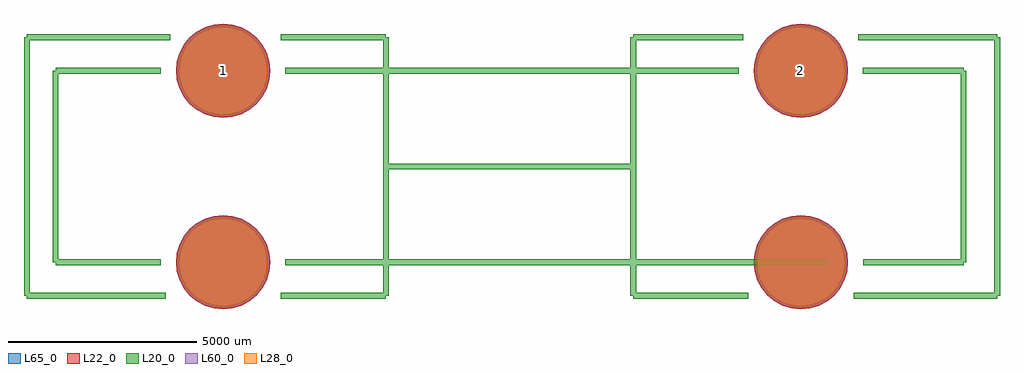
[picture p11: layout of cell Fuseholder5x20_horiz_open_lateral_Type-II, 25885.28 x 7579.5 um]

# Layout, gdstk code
import gdstk
lib = gdstk.Library(unit=1e-6, precision=1e-09)
def P(c, l, *ps):  # polygons
    for p in ps: c.add(gdstk.Polygon(p, *l))
L20_0 = (20, 0)
L22_0 = (22, 0)
L28_0 = (28, 0)
L60_0 = (60, 0)
L65_0 = (65, 0)

fuseholder5x20_horiz_ope = lib.new_cell('Fuseholder5x20_horiz_open_lateral_Type-II')
P(fuseholder5x20_horiz_ope, L22_0, [(-6410.89,-2540),(-6434.904,-2296.186),(-6506.022,-2061.741),(-6621.511,-1845.676),(-6776.933,-1656.293),(-6966.316,-1500.871),(-7182.381,-1385.382),(-7416.826,-1314.264),(-7660.64,-1290.25),(-7904.454,-1314.264),(-8138.899,-1385.382),(-8354.964,-1500.871),(-8544.347,-1656.293),(-8699.769,-1845.676),(-8815.258,-2061.741),(-8886.376,-2296.186),(-8910.39,-2540),(-8886.376,-2783.814),(-8815.258,-3018.259),(-8699.769,-3234.324),(-8544.347,-3423.707),(-8354.964,-3579.129),(-8138.899,-3694.618),(-7904.454,-3765.736),(-7660.64,-3789.75),(-7416.826,-3765.736),(-7182.381,-3694.618),(-6966.316,-3579.129),(-6776.933,-3423.707),(-6621.511,-3234.324),(-6506.022,-3018.259),(-6434.904,-2783.814)],
  [(-6410.89,2540),(-6434.904,2783.814),(-6506.022,3018.259),(-6621.511,3234.324),(-6776.933,3423.707),(-6966.316,3579.129),(-7182.381,3694.618),(-7416.826,3765.736),(-7660.64,3789.75),(-7904.454,3765.736),(-8138.899,3694.618),(-8354.964,3579.129),(-8544.347,3423.707),(-8699.769,3234.324),(-8815.258,3018.259),(-8886.376,2783.814),(-8910.39,2540),(-8886.376,2296.186),(-8815.258,2061.741),(-8699.769,1845.676),(-8544.347,1656.293),(-8354.964,1500.871),(-8138.899,1385.382),(-7904.454,1314.264),(-7660.64,1290.25),(-7416.826,1314.264),(-7182.381,1385.382),(-6966.316,1500.871),(-6776.933,1656.293),(-6621.511,1845.676),(-6506.022,2061.741),(-6434.904,2296.186)],
  [(8910.39,-2540),(8886.376,-2296.186),(8815.258,-2061.741),(8699.769,-1845.676),(8544.347,-1656.293),(8354.964,-1500.871),(8138.899,-1385.382),(7904.454,-1314.264),(7660.64,-1290.25),(7416.826,-1314.264),(7182.381,-1385.382),(6966.316,-1500.871),(6776.933,-1656.293),(6621.511,-1845.676),(6506.022,-2061.741),(6434.904,-2296.186),(6410.89,-2540),(6434.904,-2783.814),(6506.022,-3018.259),(6621.511,-3234.324),(6776.933,-3423.707),(6966.316,-3579.129),(7182.381,-3694.618),(7416.826,-3765.736),(7660.64,-3789.75),(7904.454,-3765.736),(8138.899,-3694.618),(8354.964,-3579.129),(8544.347,-3423.707),(8699.769,-3234.324),(8815.258,-3018.259),(8886.376,-2783.814)],
  [(8910.39,2540),(8886.376,2783.814),(8815.258,3018.259),(8699.769,3234.324),(8544.347,3423.707),(8354.964,3579.129),(8138.899,3694.618),(7904.454,3765.736),(7660.64,3789.75),(7416.826,3765.736),(7182.381,3694.618),(6966.316,3579.129),(6776.933,3423.707),(6621.511,3234.324),(6506.022,3018.259),(6434.904,2783.814),(6410.89,2540),(6434.904,2296.186),(6506.022,2061.741),(6621.511,1845.676),(6776.933,1656.293),(6966.316,1500.871),(7182.381,1385.382),(7416.826,1314.264),(7660.64,1290.25),(7904.454,1314.264),(8138.899,1385.382),(8354.964,1500.871),(8544.347,1656.293),(8699.769,1845.676),(8815.258,2061.741),(8886.376,2296.186)])
P(fuseholder5x20_horiz_ope, L28_0, [(-6485.89,-2540),(-6508.462,-2310.818),(-6575.313,-2090.443),(-6683.871,-1887.344),(-6829.966,-1709.326),(-7007.984,-1563.231),(-7211.083,-1454.673),(-7431.458,-1387.822),(-7660.64,-1365.25),(-7889.822,-1387.822),(-8110.197,-1454.673),(-8313.296,-1563.231),(-8491.314,-1709.326),(-8637.409,-1887.344),(-8745.967,-2090.443),(-8812.818,-2310.818),(-8835.39,-2540),(-8812.818,-2769.182),(-8745.967,-2989.557),(-8637.409,-3192.656),(-8491.314,-3370.674),(-8313.296,-3516.769),(-8110.197,-3625.327),(-7889.822,-3692.178),(-7660.64,-3714.75),(-7431.458,-3692.178),(-7211.083,-3625.327),(-7007.984,-3516.769),(-6829.966,-3370.674),(-6683.871,-3192.656),(-6575.313,-2989.557),(-6508.462,-2769.182)],
  [(-6485.89,2540),(-6508.462,2769.182),(-6575.313,2989.557),(-6683.871,3192.656),(-6829.966,3370.674),(-7007.984,3516.769),(-7211.083,3625.327),(-7431.458,3692.178),(-7660.64,3714.75),(-7889.822,3692.178),(-8110.197,3625.327),(-8313.296,3516.769),(-8491.314,3370.674),(-8637.409,3192.656),(-8745.967,2989.557),(-8812.818,2769.182),(-8835.39,2540),(-8812.818,2310.818),(-8745.967,2090.443),(-8637.409,1887.344),(-8491.314,1709.326),(-8313.296,1563.231),(-8110.197,1454.673),(-7889.822,1387.822),(-7660.64,1365.25),(-7431.458,1387.822),(-7211.083,1454.673),(-7007.984,1563.231),(-6829.966,1709.326),(-6683.871,1887.344),(-6575.313,2090.443),(-6508.462,2310.818)],
  [(8835.39,-2540),(8812.818,-2310.818),(8745.967,-2090.443),(8637.409,-1887.344),(8491.314,-1709.326),(8313.296,-1563.231),(8110.197,-1454.673),(7889.822,-1387.822),(7660.64,-1365.25),(7431.458,-1387.822),(7211.083,-1454.673),(7007.984,-1563.231),(6829.966,-1709.326),(6683.871,-1887.344),(6575.313,-2090.443),(6508.462,-2310.818),(6485.89,-2540),(6508.462,-2769.182),(6575.313,-2989.557),(6683.871,-3192.656),(6829.966,-3370.674),(7007.984,-3516.769),(7211.083,-3625.327),(7431.458,-3692.178),(7660.64,-3714.75),(7889.822,-3692.178),(8110.197,-3625.327),(8313.296,-3516.769),(8491.314,-3370.674),(8637.409,-3192.656),(8745.967,-2989.557),(8812.818,-2769.182)],
  [(8835.39,2540),(8812.818,2769.182),(8745.967,2989.557),(8637.409,3192.656),(8491.314,3370.674),(8313.296,3516.769),(8110.197,3625.327),(7889.822,3692.178),(7660.64,3714.75),(7431.458,3692.178),(7211.083,3625.327),(7007.984,3516.769),(6829.966,3370.674),(6683.871,3192.656),(6575.313,2989.557),(6508.462,2769.182),(6485.89,2540),(6508.462,2310.818),(6575.313,2090.443),(6683.871,1887.344),(6829.966,1709.326),(7007.984,1563.231),(7211.083,1454.673),(7431.458,1387.822),(7660.64,1365.25),(7889.822,1387.822),(8110.197,1454.673),(8313.296,1563.231),(8491.314,1709.326),(8637.409,1887.344),(8745.967,2090.443),(8812.818,2310.818)])
P(fuseholder5x20_horiz_ope, L60_0, [(-6485.89,-2540),(-6508.462,-2310.818),(-6575.313,-2090.443),(-6683.871,-1887.344),(-6829.966,-1709.326),(-7007.984,-1563.231),(-7211.083,-1454.673),(-7431.458,-1387.822),(-7660.64,-1365.25),(-7889.822,-1387.822),(-8110.197,-1454.673),(-8313.296,-1563.231),(-8491.314,-1709.326),(-8637.409,-1887.344),(-8745.967,-2090.443),(-8812.818,-2310.818),(-8835.39,-2540),(-8812.818,-2769.182),(-8745.967,-2989.557),(-8637.409,-3192.656),(-8491.314,-3370.674),(-8313.296,-3516.769),(-8110.197,-3625.327),(-7889.822,-3692.178),(-7660.64,-3714.75),(-7431.458,-3692.178),(-7211.083,-3625.327),(-7007.984,-3516.769),(-6829.966,-3370.674),(-6683.871,-3192.656),(-6575.313,-2989.557),(-6508.462,-2769.182)],
  [(-6485.89,2540),(-6508.462,2769.182),(-6575.313,2989.557),(-6683.871,3192.656),(-6829.966,3370.674),(-7007.984,3516.769),(-7211.083,3625.327),(-7431.458,3692.178),(-7660.64,3714.75),(-7889.822,3692.178),(-8110.197,3625.327),(-8313.296,3516.769),(-8491.314,3370.674),(-8637.409,3192.656),(-8745.967,2989.557),(-8812.818,2769.182),(-8835.39,2540),(-8812.818,2310.818),(-8745.967,2090.443),(-8637.409,1887.344),(-8491.314,1709.326),(-8313.296,1563.231),(-8110.197,1454.673),(-7889.822,1387.822),(-7660.64,1365.25),(-7431.458,1387.822),(-7211.083,1454.673),(-7007.984,1563.231),(-6829.966,1709.326),(-6683.871,1887.344),(-6575.313,2090.443),(-6508.462,2310.818)],
  [(8835.39,-2540),(8812.818,-2310.818),(8745.967,-2090.443),(8637.409,-1887.344),(8491.314,-1709.326),(8313.296,-1563.231),(8110.197,-1454.673),(7889.822,-1387.822),(7660.64,-1365.25),(7431.458,-1387.822),(7211.083,-1454.673),(7007.984,-1563.231),(6829.966,-1709.326),(6683.871,-1887.344),(6575.313,-2090.443),(6508.462,-2310.818),(6485.89,-2540),(6508.462,-2769.182),(6575.313,-2989.557),(6683.871,-3192.656),(6829.966,-3370.674),(7007.984,-3516.769),(7211.083,-3625.327),(7431.458,-3692.178),(7660.64,-3714.75),(7889.822,-3692.178),(8110.197,-3625.327),(8313.296,-3516.769),(8491.314,-3370.674),(8637.409,-3192.656),(8745.967,-2989.557),(8812.818,-2769.182)],
  [(8835.39,2540),(8812.818,2769.182),(8745.967,2989.557),(8637.409,3192.656),(8491.314,3370.674),(8313.296,3516.769),(8110.197,3625.327),(7889.822,3692.178),(7660.64,3714.75),(7431.458,3692.178),(7211.083,3625.327),(7007.984,3516.769),(6829.966,3370.674),(6683.871,3192.656),(6575.313,2989.557),(6508.462,2769.182),(6485.89,2540),(6508.462,2310.818),(6575.313,2090.443),(6683.871,1887.344),(6829.966,1709.326),(7007.984,1563.231),(7211.083,1454.673),(7431.458,1387.822),(7660.64,1365.25),(7889.822,1387.822),(8110.197,1454.673),(8313.296,1563.231),(8491.314,1709.326),(8637.409,1887.344),(8745.967,2090.443),(8812.818,2310.818)])
P(fuseholder5x20_horiz_ope, L65_0, [(-6410.89,-2540),(-6434.904,-2296.186),(-6506.022,-2061.741),(-6621.511,-1845.676),(-6776.933,-1656.293),(-6966.316,-1500.871),(-7182.381,-1385.382),(-7416.826,-1314.264),(-7660.64,-1290.25),(-7904.454,-1314.264),(-8138.899,-1385.382),(-8354.964,-1500.871),(-8544.347,-1656.293),(-8699.769,-1845.676),(-8815.258,-2061.741),(-8886.376,-2296.186),(-8910.39,-2540),(-8886.376,-2783.814),(-8815.258,-3018.259),(-8699.769,-3234.324),(-8544.347,-3423.707),(-8354.964,-3579.129),(-8138.899,-3694.618),(-7904.454,-3765.736),(-7660.64,-3789.75),(-7416.826,-3765.736),(-7182.381,-3694.618),(-6966.316,-3579.129),(-6776.933,-3423.707),(-6621.511,-3234.324),(-6506.022,-3018.259),(-6434.904,-2783.814)],
  [(-6410.89,2540),(-6434.904,2783.814),(-6506.022,3018.259),(-6621.511,3234.324),(-6776.933,3423.707),(-6966.316,3579.129),(-7182.381,3694.618),(-7416.826,3765.736),(-7660.64,3789.75),(-7904.454,3765.736),(-8138.899,3694.618),(-8354.964,3579.129),(-8544.347,3423.707),(-8699.769,3234.324),(-8815.258,3018.259),(-8886.376,2783.814),(-8910.39,2540),(-8886.376,2296.186),(-8815.258,2061.741),(-8699.769,1845.676),(-8544.347,1656.293),(-8354.964,1500.871),(-8138.899,1385.382),(-7904.454,1314.264),(-7660.64,1290.25),(-7416.826,1314.264),(-7182.381,1385.382),(-6966.316,1500.871),(-6776.933,1656.293),(-6621.511,1845.676),(-6506.022,2061.741),(-6434.904,2296.186)],
  [(8910.39,-2540),(8886.376,-2296.186),(8815.258,-2061.741),(8699.769,-1845.676),(8544.347,-1656.293),(8354.964,-1500.871),(8138.899,-1385.382),(7904.454,-1314.264),(7660.64,-1290.25),(7416.826,-1314.264),(7182.381,-1385.382),(6966.316,-1500.871),(6776.933,-1656.293),(6621.511,-1845.676),(6506.022,-2061.741),(6434.904,-2296.186),(6410.89,-2540),(6434.904,-2783.814),(6506.022,-3018.259),(6621.511,-3234.324),(6776.933,-3423.707),(6966.316,-3579.129),(7182.381,-3694.618),(7416.826,-3765.736),(7660.64,-3789.75),(7904.454,-3765.736),(8138.899,-3694.618),(8354.964,-3579.129),(8544.347,-3423.707),(8699.769,-3234.324),(8815.258,-3018.259),(8886.376,-2783.814)],
  [(8910.39,2540),(8886.376,2783.814),(8815.258,3018.259),(8699.769,3234.324),(8544.347,3423.707),(8354.964,3579.129),(8138.899,3694.618),(7904.454,3765.736),(7660.64,3789.75),(7416.826,3765.736),(7182.381,3694.618),(6966.316,3579.129),(6776.933,3423.707),(6621.511,3234.324),(6506.022,3018.259),(6434.904,2783.814),(6410.89,2540),(6434.904,2296.186),(6506.022,2061.741),(6621.511,1845.676),(6776.933,1656.293),(6966.316,1500.871),(7182.381,1385.382),(7416.826,1314.264),(7660.64,1290.25),(7904.454,1314.264),(8138.899,1385.382),(8354.964,1500.871),(8544.347,1656.293),(8699.769,1845.676),(8815.258,2061.741),(8886.376,2296.186)])
fuseholder5x20_horiz_ope.add(gdstk.FlexPath([(3215.64,-2540),(3215.64,0)], 149.998, ends="flush", simple_path=True, layer=20, datatype=0))  # L20_0
fuseholder5x20_horiz_ope.add(gdstk.FlexPath([(11976.1,2540),(11976.1,-2540)], 149.998, ends="flush", simple_path=True, layer=20, datatype=0))  # L20_0
fuseholder5x20_horiz_ope.add(gdstk.FlexPath([(3215.64,0),(3215.64,2540)], 149.998, ends="flush", simple_path=True, layer=20, datatype=0))  # L20_0
fuseholder5x20_horiz_ope.add(gdstk.FlexPath([(-3342.64,-2540),(-3342.64,0)], 149.998, ends="flush", simple_path=True, layer=20, datatype=0))  # L20_0
fuseholder5x20_horiz_ope.add(gdstk.FlexPath([(-12103.1,2540),(-12103.1,-2540)], 149.998, ends="flush", simple_path=True, layer=20, datatype=0))  # L20_0
fuseholder5x20_horiz_ope.add(gdstk.FlexPath([(-3342.64,0),(-3342.64,2540)], 149.998, ends="flush", simple_path=True, layer=20, datatype=0))  # L20_0
fuseholder5x20_horiz_ope.add(gdstk.FlexPath([(-5842,2540),(5715,2540)], 149.998, ends="flush", simple_path=True, layer=20, datatype=0))  # L20_0
fuseholder5x20_horiz_ope.add(gdstk.FlexPath([(5715,-2540),(-5969,-2540)], 149.998, ends="flush", simple_path=True, layer=20, datatype=0))  # L20_0
fuseholder5x20_horiz_ope.add(gdstk.FlexPath([(-3342.64,3429),(-3342.64,2413)], 149.998, ends="flush", simple_path=True, layer=20, datatype=0))  # L20_0
fuseholder5x20_horiz_ope.add(gdstk.FlexPath([(-3342.64,-3429),(-3342.64,-2540)], 149.998, ends="flush", simple_path=True, layer=20, datatype=0))  # L20_0
fuseholder5x20_horiz_ope.add(gdstk.FlexPath([(-12867.64,3429),(-12867.64,-3429)], 149.998, ends="flush", simple_path=True, layer=20, datatype=0))  # L20_0
fuseholder5x20_horiz_ope.add(gdstk.FlexPath([(3215.64,3429),(3215.64,2540)], 149.998, ends="flush", simple_path=True, layer=20, datatype=0))  # L20_0
fuseholder5x20_horiz_ope.add(gdstk.FlexPath([(3215.64,-3429),(3215.64,-2540)], 149.998, ends="flush", simple_path=True, layer=20, datatype=0))  # L20_0
fuseholder5x20_horiz_ope.add(gdstk.FlexPath([(12867.64,3429),(12867.64,-3429)], 149.998, ends="flush", simple_path=True, layer=20, datatype=0))  # L20_0
fuseholder5x20_horiz_ope.add(gdstk.FlexPath([(-12105.64,2540),(-9311.64,2540)], 149.998, ends="flush", simple_path=True, layer=20, datatype=0))  # L20_0
fuseholder5x20_horiz_ope.add(gdstk.FlexPath([(-3342.64,2540),(-6009.64,2540)], 149.998, ends="flush", simple_path=True, layer=20, datatype=0))  # L20_0
fuseholder5x20_horiz_ope.add(gdstk.FlexPath([(-3342.64,3429),(-6136.64,3429)], 149.998, ends="flush", simple_path=True, layer=20, datatype=0))  # L20_0
fuseholder5x20_horiz_ope.add(gdstk.FlexPath([(-12867.64,3429),(-9057.64,3429)], 149.998, ends="flush", simple_path=True, layer=20, datatype=0))  # L20_0
fuseholder5x20_horiz_ope.add(gdstk.FlexPath([(-12105.64,-2540),(-9311.64,-2540)], 149.998, ends="flush", simple_path=True, layer=20, datatype=0))  # L20_0
fuseholder5x20_horiz_ope.add(gdstk.FlexPath([(-5882.64,-2540),(-3342.64,-2540)], 149.998, ends="flush", simple_path=True, layer=20, datatype=0))  # L20_0
fuseholder5x20_horiz_ope.add(gdstk.FlexPath([(-5882.64,-2540),(-6009.64,-2540)], 149.998, ends="flush", simple_path=True, layer=20, datatype=0))  # L20_0
fuseholder5x20_horiz_ope.add(gdstk.FlexPath([(-3342.64,-3429),(-6136.64,-3429)], 149.998, ends="flush", simple_path=True, layer=20, datatype=0))  # L20_0
fuseholder5x20_horiz_ope.add(gdstk.FlexPath([(-12867.64,-3429),(-9184.64,-3429)], 149.998, ends="flush", simple_path=True, layer=20, datatype=0))  # L20_0
fuseholder5x20_horiz_ope.add(gdstk.FlexPath([(3215.64,3429),(6136.64,3429)], 149.998, ends="flush", simple_path=True, layer=20, datatype=0))  # L20_0
fuseholder5x20_horiz_ope.add(gdstk.FlexPath([(12867.64,3429),(9184.64,3429)], 149.998, ends="flush", simple_path=True, layer=20, datatype=0))  # L20_0
fuseholder5x20_horiz_ope.add(gdstk.FlexPath([(11976.1,2540),(9309.1,2540)], 149.998, ends="flush", simple_path=True, layer=20, datatype=0))  # L20_0
fuseholder5x20_horiz_ope.add(gdstk.FlexPath([(3215.64,2540),(6009.64,2540)], 149.998, ends="flush", simple_path=True, layer=20, datatype=0))  # L20_0
fuseholder5x20_horiz_ope.add(gdstk.FlexPath([(11978.64,-2540),(9311.64,-2540)], 149.998, ends="flush", simple_path=True, layer=20, datatype=0))  # L20_0
fuseholder5x20_horiz_ope.add(gdstk.FlexPath([(5715,-2540),(8382,-2540)], 149.998, ends="flush", simple_path=True, layer=20, datatype=0))  # L20_0
fuseholder5x20_horiz_ope.add(gdstk.FlexPath([(3215.64,-3429),(6263.64,-3429)], 149.998, ends="flush", simple_path=True, layer=20, datatype=0))  # L20_0
fuseholder5x20_horiz_ope.add(gdstk.FlexPath([(12867.64,-3429),(9057.64,-3429)], 149.998, ends="flush", simple_path=True, layer=20, datatype=0))  # L20_0
fuseholder5x20_horiz_ope.add(gdstk.FlexPath([(3251.2,0),(-3251.2,0)], 149.998, ends="flush", simple_path=True, layer=20, datatype=0))  # L20_0
fuseholder5x20_horiz_ope.add(gdstk.Label('1', (-7660.64,2540), layer=28, texttype=0))
fuseholder5x20_horiz_ope.add(gdstk.Label('2', (7660.64,2540), layer=28, texttype=0))
fuseholder5x20_horiz_ope.add(gdstk.Label('type', (-1270,-6350), layer=9, texttype=0))
fuseholder5x20_horiz_ope.add(gdstk.Label('devicename', (0,5080), layer=9, texttype=0))

lib.write_gds('Fuseholder5x20_horiz_open_lateral_Type-II.gds')
